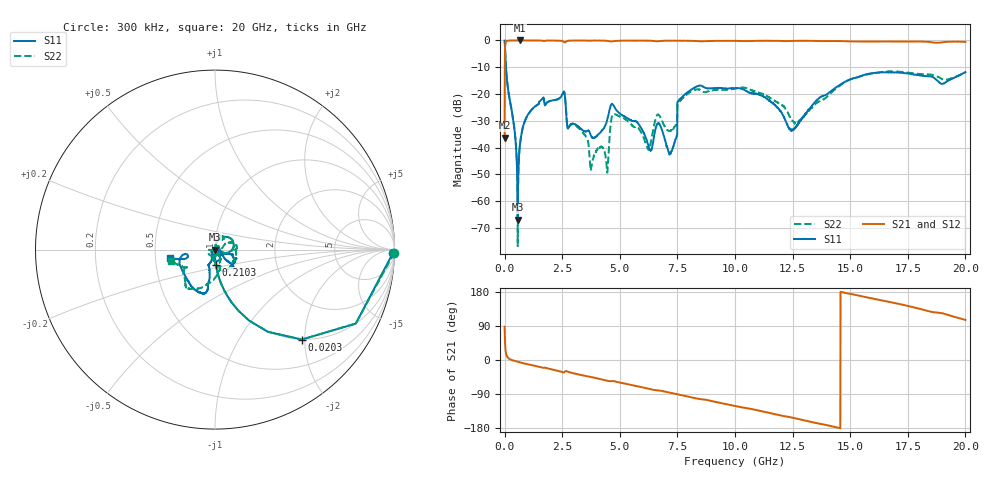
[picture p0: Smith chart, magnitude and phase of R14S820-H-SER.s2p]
!{R14S820}
!Johanson Technology Inc.
!www.johansontechnology.com
!Test Board Conditions:
!Substrate Type  RO4350B
!Substrate Thickness  20 mil
!Substrate Dk  3.66
!TL Type: GCPW
!TL Trace Width  36 mil
!TL Gap  12 mil
!Electrode orientation  Horizontal
!DUT TOPOLOGY	SERIES
!Mounting Pad LxW  26x36 mil
! Created Wed Nov 25 17:33:21 2020
! 2 Port Network Data from SP1.SP block
! freq  magS11  angS11  magS21  angS21  magS12  angS12  magS22  angS22
# khz S ma R 50
! decimated to every 10th point (10 MHz spacing) of the original 1 MHz Johanson file; values unchanged
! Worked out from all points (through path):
!   2001 points, 300 kHz to 20 GHz, reference 50 ohm
!   highest |S21| = 0.00 dB at 670.3 MHz (marker M1); lowest = -36.3 dB at 300 kHz (marker M2)
!   group delay of S21, straight-line fit = 35.1 ps
!   lowest |S11| = -66.9 dB at 570.3 MHz (marker M3), VSWR 1.00, Z = 50 + j0.0345 ohm
!   |S11| at or under -10 dB: 58.64 MHz to end of sweep
!   |S22| runs from -76.8 to 0.0 dB; largest |S21 - S12| = 0.017
!   S11 on the Smith chart (normalised r, x): 300 kHz: 40, -90; 20.3 MHz: 0.99, -1.93; 210.3 MHz: 0.99, -0.17; 20 GHz: 0.60, -0.06
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300  0.9917 -1.1  0.01526 88.1  0.01521 88.8  0.9987 -1.0
20300  0.696 -46.0  0.7162 44.0  0.7173 43.9  0.6967 -46.0
110300  0.1709 -81.2  0.9851 8.9  0.9841 8.8  0.1715 -81.2
210300  0.08325 -87.0  0.9956 2.8  0.9964 2.8  0.08369 -87.1
570300  0.0004516 130.1  0.9997 -4.9  0.9993 -5.0  0.000144 -138.9
670300  0.01187 85.5  0.9998 -6.5  0.999 -6.5  0.01157 84.1
910300  0.03388 80.5  0.9987 -10.0  0.9993 -10.0  0.03326 79.7
1610300  0.07851 70.4  0.9941 -19.6  0.9936 -19.6  0.07843 66.9
2540300  0.1053 38.3  0.9585 -32.7  0.9592 -32.7  0.1065 36.6
2780300  0.02373 32.7  0.9881 -31.7  0.9886 -31.7  0.02417 28.4
3340300  0.02188 29.8  0.9965 -39.9  0.9968 -39.9  0.02014 54.8
4420300  0.02922 -48.9  0.9862 -54.2  0.9858 -54.2  0.004977 103.6
4740300  0.05992 -99.9  0.9732 -55.8  0.9731 -55.9  0.04271 -137.2
6230300  0.01127 -130.9  0.9912 -75.6  0.9904 -75.6  0.009828 -123.5
6670300  0.02888 -116.1  0.9663 -80.1  0.9663 -80.0  0.04133 -101.1
7200300  0.007637 100.3  0.9918 -86.7  0.991 -86.7  0.02056 -82.9
7650300  0.08382 -43.0  0.9858 -92.6  0.9863 -92.5  0.07756 27.3
1.00003e7  0.1289 -22.7  0.9813 -121.2  0.9818 -121.3  0.126 -47.2
1.24503e7  0.02145 -76.4  0.9792 -151.7  0.9822 -151.7  0.03307 -96.1
1.33403e7  0.06047 -107.5  0.9827 -163.8  0.9848 -163.8  0.05534 -57.7
1.66703e7  0.2519 -108.6  0.9575 153.6  0.9509 153.4  0.2647 -124.9
2e7  0.2561 -168.9  0.9411 105.7  0.9407 105.9  0.2507 -165.4
